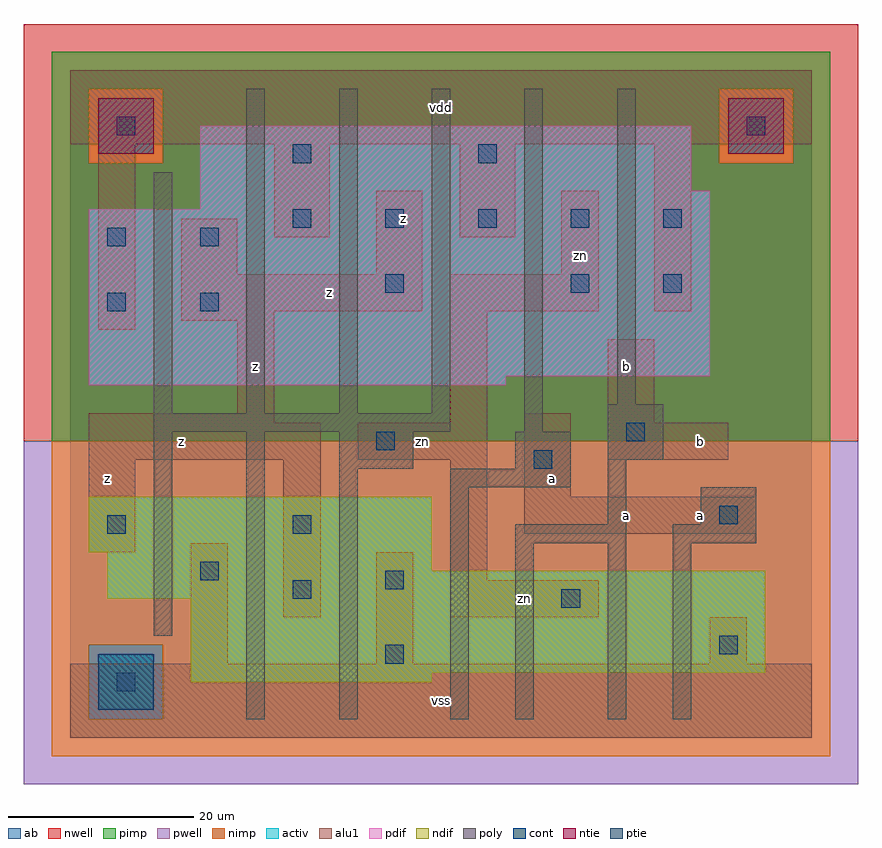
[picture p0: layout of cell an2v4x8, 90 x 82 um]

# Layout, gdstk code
import gdstk
lib = gdstk.Library(unit=1e-6, precision=1e-09)
def R(c, l, rs):  # rectangles x0, y0, x1, y1
    for r in rs: c.add(gdstk.rectangle(r[:2], r[2:], *l))
def A(c, l, x, y, w, h, nx, ny, dx, dy):  # array of equal rectangles
    R(c, l, [(x+i*dx, y+j*dy, x+i*dx+w, y+j*dy+h) for i in range(nx) for j in range(ny)])
ndif = (3, 0)
pdif = (4, 0)
ntie = (5, 0)
ptie = (6, 0)
cont = (25, 0)
pwell = (41, 0)
nwell = (42, 0)
activ = (43, 0)
pimp = (44, 0)
nimp = (45, 0)
poly = (46, 0)
alu1 = (49, 0)
ab = (63, 0)

an2v4x8 = lib.new_cell('an2v4x8')
R(an2v4x8, ndif, [(13,6,39,7), (13,7,75,15), (4,15,75,18), (4,18,39,20), (2,20,39,26)])
R(an2v4x8, pdif, [(2,38,47,39), (2,39,69,57), (14,57,69,59), (14,59,67,66)])
R(an2v4x8, ntie, [(3,63,9,69), (71,63,77,69)])
R(an2v4x8, ptie, [(3,3,9,9)])
A(an2v4x8, cont, 24, 55, 2, 2, 5, 1, 10, 0)
R(an2v4x8, cont, [(5,5,7,7), (34,8,36,10), (70,9,72,11), (53,14,55,16), (24,15,26,17), (34,16,36,18), (14,17,16,19), (4,22,6,24), (24,22,26,24), (70,23,72,25), (50,29,52,31), (33,31,35,33), (60,32,62,34), (4,46,6,48), (14,46,16,48), (34,48,36,50), (54,48,56,50), (64,48,66,50), (4,53,6,55), (14,53,16,55), (24,62,26,64), (44,62,46,64), (5,65,7,67), (73,65,75,67)])
R(an2v4x8, pwell, [(-5,-5,85,32)])
R(an2v4x8, nwell, [(-5,32,85,77)])
R(an2v4x8, activ, [(3,3,9,9), (13,6,39,7), (13,7,75,15), (4,15,75,18), (4,18,39,20), (2,20,39,26), (2,38,47,39), (2,39,69,57), (14,57,69,59), (14,59,67,66), (3,63,9,69), (71,63,77,69)])
R(an2v4x8, pimp, [(2,2,10,10), (-2,32,82,62), (-2,62,2,70), (10,62,70,70), (78,62,82,70), (-2,70,82,74)])
R(an2v4x8, nimp, [(-2,-2,82,2), (-2,2,2,10), (10,2,82,10), (-2,10,82,32), (2,62,10,70), (70,62,78,70)])
A(an2v4x8, poly, 19, 35, 2, 35, 3, 1, 10, 0)
R(an2v4x8, poly, [(19,2,21,33), (29,2,31,29), (41,2,43,27), (48,2,50,21), (58,2,60,21), (65,2,67,21), (9,11,11,33), (48,21,60,23), (65,21,74,23), (58,23,60,30), (68,23,74,27), (41,27,54,29), (29,29,37,33), (48,29,54,33), (58,30,64,36), (9,33,41,35), (49,33,51,70), (9,35,11,61), (59,36,61,70)])
R(an2v4x8, alu1, [(0,0,80,8), (13,8,17,21), (33,8,37,20), (69,8,73,13), (23,13,27,30), (41,13,57,17), (41,17,45,30), (2,20,7,30), (49,22,74,26), (49,26,54,35), (2,30,27,34), (31,30,45,34), (58,30,71,34), (2,34,22,35), (41,34,45,46), (58,34,63,43), (18,35,22,45), (3,44,7,64), (12,45,22,46), (12,46,38,50), (41,46,57,50), (63,46,67,64), (12,50,18,56), (33,50,38,59), (53,50,57,59), (22,54,28,64), (42,54,48,64), (0,64,80,72)])
R(an2v4x8, ab, [(0,0,80,72)])
an2v4x8.add(gdstk.Label('zn', (49,15), layer=49, texttype=0))
an2v4x8.add(gdstk.Label('zn', (38,32), layer=49, texttype=0))
an2v4x8.add(gdstk.Label('zn', (55,52), layer=49, texttype=0))
an2v4x8.add(gdstk.Label('z', (4,28), layer=49, texttype=0))
an2v4x8.add(gdstk.Label('z', (12,32), layer=49, texttype=0))
an2v4x8.add(gdstk.Label('z', (20,40), layer=49, texttype=0))
an2v4x8.add(gdstk.Label('z', (28,48), layer=49, texttype=0))
an2v4x8.add(gdstk.Label('z', (36,56), layer=49, texttype=0))
an2v4x8.add(gdstk.Label('vss', (40,4), layer=49, texttype=0))
an2v4x8.add(gdstk.Label('a', (52,28), layer=49, texttype=0))
an2v4x8.add(gdstk.Label('vdd', (40,68), layer=49, texttype=0))
an2v4x8.add(gdstk.Label('a', (60,24), layer=49, texttype=0))
an2v4x8.add(gdstk.Label('b', (68,32), layer=49, texttype=0))
an2v4x8.add(gdstk.Label('a', (68,24), layer=49, texttype=0))
an2v4x8.add(gdstk.Label('b', (60,40), layer=49, texttype=0))

lib.write_gds('an2v4x8.gds')
